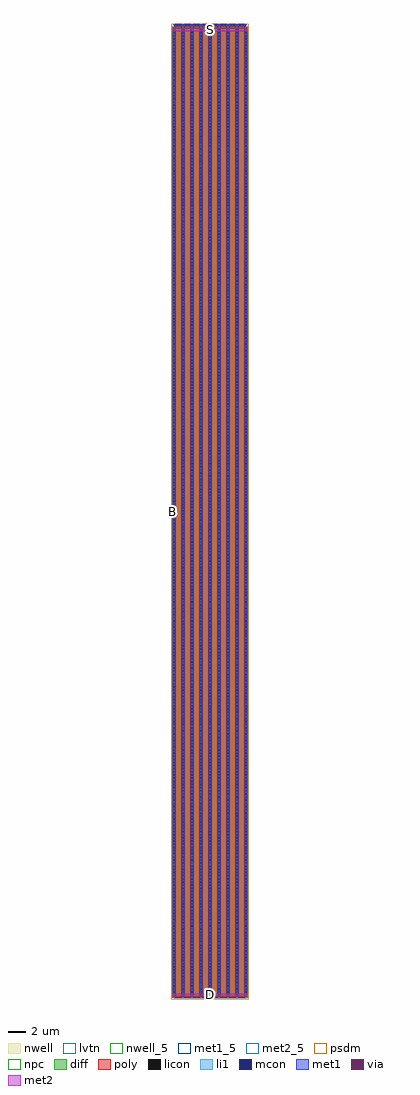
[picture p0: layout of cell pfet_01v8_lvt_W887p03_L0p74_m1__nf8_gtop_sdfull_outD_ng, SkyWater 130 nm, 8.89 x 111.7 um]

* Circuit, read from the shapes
.subckt pfet_01v8_lvt_W887p03_L0p74_m1__nf8_gtop_sdfull_outD_ng B D G S
XM1 S G D B sky130_fd_pr__pfet_01v8_lvt w=110.88 l=0.74 m=8
.ends

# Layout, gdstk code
import gdstk
lib = gdstk.Library(unit=1e-6, precision=1e-09)
def R(c, l, rs):  # rectangles x0, y0, x1, y1
    for r in rs: c.add(gdstk.rectangle(r[:2], r[2:], *l))
def A(c, l, x, y, w, h, nx, ny, dx, dy):  # array of equal rectangles
    R(c, l, [(x+i*dx, y+j*dy, x+i*dx+w, y+j*dy+h) for i in range(nx) for j in range(ny)])
nwell_5 = (64, 5)
nwell = (64, 20)
diff = (65, 20)
poly = (66, 20)
licon = (66, 44)
li1 = (67, 20)
mcon = (67, 44)
met1_5 = (68, 5)
met1 = (68, 20)
via = (68, 44)
met2_5 = (69, 5)
met2 = (69, 20)
psdm = (94, 20)
npc = (95, 20)
lvtn = (125, 44)

sky130_fd_pr__pfet_01v8_ = lib.new_cell('sky130_fd_pr__pfet_01v8_lvt_DQ9EUM')
R(sky130_fd_pr__pfet_01v8_, nwell, [(-4.445,-55.93,4.445,55.76)])
R(sky130_fd_pr__pfet_01v8_, diff, [(-4.265,-55.62,4.265,55.26)])
A(sky130_fd_pr__pfet_01v8_, poly, -3.975, -55.75, 0.74, 111.495, 8, 1, 1.03, 0)
A(sky130_fd_pr__pfet_01v8_, licon, -4.205, -55.515, 0.17, 0.17, 9, 326, 1.03, 0.34)
R(sky130_fd_pr__pfet_01v8_, licon, [(-3.86,55.495,-3.69,55.665), (-3.52,55.495,-3.35,55.665), (-2.83,55.495,-2.66,55.665), (-2.49,55.495,-2.32,55.665), (-1.8,55.495,-1.63,55.665), (-1.46,55.495,-1.29,55.665), (-0.77,55.495,-0.6,55.665), (-0.43,55.495,-0.26,55.665), (0.26,55.495,0.43,55.665), (0.6,55.495,0.77,55.665), (1.29,55.495,1.46,55.665), (1.63,55.495,1.8,55.665), (2.32,55.495,2.49,55.665), (2.66,55.495,2.83,55.665), (3.35,55.495,3.52,55.665), (3.69,55.495,3.86,55.665)])
A(sky130_fd_pr__pfet_01v8_, li1, -4.205, -55.64, 0.17, 110.92, 9, 1, 1.03, 0)
R(sky130_fd_pr__pfet_01v8_, li1, [(-4.12,55.495,4.12,55.665)])
A(sky130_fd_pr__pfet_01v8_, mcon, -4.205, -55.525, 0.17, 0.17, 9, 308, 1.03, 0.36)
R(sky130_fd_pr__pfet_01v8_, mcon, [(-3.87,55.495,-3.7,55.665), (-3.51,55.495,-3.34,55.665), (-2.84,55.495,-2.67,55.665), (-2.48,55.495,-2.31,55.665), (-1.81,55.495,-1.64,55.665), (-1.45,55.495,-1.28,55.665), (-0.78,55.495,-0.61,55.665), (-0.42,55.495,-0.25,55.665), (0.25,55.495,0.42,55.665), (0.61,55.495,0.78,55.665), (1.28,55.495,1.45,55.665), (1.64,55.495,1.81,55.665), (2.31,55.495,2.48,55.665), (2.67,55.495,2.84,55.665), (3.34,55.495,3.51,55.665), (3.7,55.495,3.87,55.665)])
A(sky130_fd_pr__pfet_01v8_, met1, -4.235, -55.62, 0.23, 110.88, 9, 1, 1.03, 0)
A(sky130_fd_pr__pfet_01v8_, met1, -3.955, 55.465, 0.7, 0.03, 8, 2, 1.03, 0.2)
R(sky130_fd_pr__pfet_01v8_, met1, [(-4.12,55.495,4.12,55.665)])
R(sky130_fd_pr__pfet_01v8_, psdm, [(-4.39,-55.745,4.39,55.385)])
A(sky130_fd_pr__pfet_01v8_, npc, -3.96, 55.395, 0.71, 0.37, 8, 1, 1.03, 0)
R(sky130_fd_pr__pfet_01v8_, lvtn, [(-4.155,-55.8,4.155,55.44)])
sky130_fd_pr__pfet_01v8_.add(gdstk.Label('D0', (-4.12,-0.18), layer=67, texttype=5))
sky130_fd_pr__pfet_01v8_.add(gdstk.Label('G', (3.605,55.58), layer=67, texttype=5))
sky130_fd_pr__pfet_01v8_.add(gdstk.Label('G', (2.575,55.58), layer=67, texttype=5))
sky130_fd_pr__pfet_01v8_.add(gdstk.Label('G', (1.545,55.58), layer=67, texttype=5))
sky130_fd_pr__pfet_01v8_.add(gdstk.Label('G', (0.515,55.58), layer=67, texttype=5))
sky130_fd_pr__pfet_01v8_.add(gdstk.Label('G', (-0.515,55.58), layer=67, texttype=5))
sky130_fd_pr__pfet_01v8_.add(gdstk.Label('G', (-1.545,55.58), layer=67, texttype=5))
sky130_fd_pr__pfet_01v8_.add(gdstk.Label('G', (-2.575,55.58), layer=67, texttype=5))
sky130_fd_pr__pfet_01v8_.add(gdstk.Label('G', (-3.605,55.58), layer=67, texttype=5))
sky130_fd_pr__pfet_01v8_.add(gdstk.Label('S1', (-3.09,-0.18), layer=67, texttype=5))
sky130_fd_pr__pfet_01v8_.add(gdstk.Label('D2', (-2.06,-0.18), layer=67, texttype=5))
sky130_fd_pr__pfet_01v8_.add(gdstk.Label('S3', (-1.03,-0.18), layer=67, texttype=5))
sky130_fd_pr__pfet_01v8_.add(gdstk.Label('D4', (0,-0.18), layer=67, texttype=5))
sky130_fd_pr__pfet_01v8_.add(gdstk.Label('S5', (1.03,-0.18), layer=67, texttype=5))
sky130_fd_pr__pfet_01v8_.add(gdstk.Label('D6', (2.06,-0.18), layer=67, texttype=5))
sky130_fd_pr__pfet_01v8_.add(gdstk.Label('S7', (3.09,-0.18), layer=67, texttype=5))

pfet_01v8_lvt_w887p03_l0 = lib.new_cell('pfet_01v8_lvt_W887p03_L0p74_m1__nf8_gtop_sdfull_outD_ng')
R(pfet_01v8_lvt_w887p03_l0, nwell_5, [(0.05,55.795,0.15,55.895)])
R(pfet_01v8_lvt_w887p03_l0, nwell, [(0.05,55.795,0.15,55.895)])
R(pfet_01v8_lvt_w887p03_l0, met1_5, [(0.325,111.395,8.565,111.625)])
A(pfet_01v8_lvt_w887p03_l0, met1, 0.195, 0.36, 0.26, 0.32, 5, 1, 2.06, 0)
A(pfet_01v8_lvt_w887p03_l0, met1, 1.225, 110.82, 0.26, 0.32, 4, 1, 2.06, 0)
R(pfet_01v8_lvt_w887p03_l0, met1, [(0.325,111.395,8.565,111.625)])
A(pfet_01v8_lvt_w887p03_l0, via, 0.25, 0.445, 0.15, 0.15, 5, 1, 2.06, 0)
A(pfet_01v8_lvt_w887p03_l0, via, 1.28, 110.905, 0.15, 0.15, 4, 1, 2.06, 0)
R(pfet_01v8_lvt_w887p03_l0, met2_5, [(0.19,0.36,8.7,0.68), (0.19,110.82,8.7,111.14)])
R(pfet_01v8_lvt_w887p03_l0, met2, [(0.19,0.36,8.7,0.68), (0.19,110.82,8.7,111.14)])
pfet_01v8_lvt_w887p03_l0.add(gdstk.Reference(sky130_fd_pr__pfet_01v8_, (4.445,55.93)))
pfet_01v8_lvt_w887p03_l0.add(gdstk.Label('S', (4.445,110.98), layer=69, texttype=5))
pfet_01v8_lvt_w887p03_l0.add(gdstk.Label('D', (4.445,0.52), layer=69, texttype=5))
pfet_01v8_lvt_w887p03_l0.add(gdstk.Label('G', (4.445,111.51), layer=68, texttype=5))
pfet_01v8_lvt_w887p03_l0.add(gdstk.Label('B', (0.1,55.845), layer=64, texttype=5))

lib.write_gds('pfet_01v8_lvt_W887p03_L0p74_m1__nf8_gtop_sdfull_outD_ng.gds')
